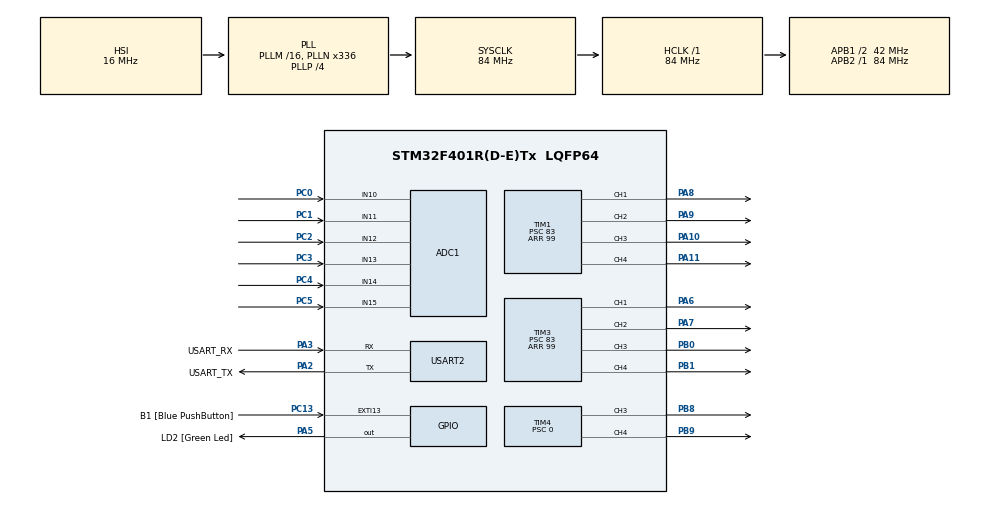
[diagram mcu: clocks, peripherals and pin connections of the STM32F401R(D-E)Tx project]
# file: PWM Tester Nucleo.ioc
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ADC1.Channel-0\#ChannelRegularConversion=ADC_CHANNEL_10
ADC1.Channel-1\#ChannelRegularConversion=ADC_CHANNEL_11
ADC1.Channel-2\#ChannelRegularConversion=ADC_CHANNEL_12
ADC1.Channel-3\#ChannelRegularConversion=ADC_CHANNEL_13
ADC1.Channel-4\#ChannelRegularConversion=ADC_CHANNEL_14
ADC1.Channel-5\#ChannelRegularConversion=ADC_CHANNEL_15
ADC1.ContinuousConvMode=ENABLE
ADC1.NbrOfConversion=6
ADC1.NbrOfConversionFlag=1
ADC1.Rank-0\#ChannelRegularConversion=1
ADC1.Rank-1\#ChannelRegularConversion=2
ADC1.Rank-2\#ChannelRegularConversion=3
ADC1.Rank-3\#ChannelRegularConversion=4
ADC1.Rank-4\#ChannelRegularConversion=5
ADC1.Rank-5\#ChannelRegularConversion=6
ADC1.SamplingTime-0\#ChannelRegularConversion=ADC_SAMPLETIME_480CYCLES
ADC1.SamplingTime-1\#ChannelRegularConversion=ADC_SAMPLETIME_480CYCLES
ADC1.SamplingTime-2\#ChannelRegularConversion=ADC_SAMPLETIME_480CYCLES
ADC1.SamplingTime-3\#ChannelRegularConversion=ADC_SAMPLETIME_480CYCLES
ADC1.SamplingTime-4\#ChannelRegularConversion=ADC_SAMPLETIME_480CYCLES
ADC1.SamplingTime-5\#ChannelRegularConversion=ADC_SAMPLETIME_480CYCLES
ADC1.ScanConvMode=ENABLE
ADC1.master=1
Mcu.Family=STM32F4
Mcu.Name=STM32F401R(D-E)Tx
Mcu.Package=LQFP64
NVIC.PriorityGroup=NVIC_PRIORITYGROUP_0
PA10.Signal=S_TIM1_CH3
PA11.Signal=S_TIM1_CH4
PA13.GPIO_Label=TMS
PA13.Mode=Serial_Wire
PA13.Signal=SYS_JTMS-SWDIO
PA14.GPIO_Label=TCK
PA14.Mode=Serial_Wire
PA14.Signal=SYS_JTCK-SWCLK
PA2.GPIO_Label=USART_TX
PA2.GPIO_Mode=GPIO_MODE_AF_PP
PA2.GPIO_PuPd=GPIO_NOPULL
PA2.GPIO_Speed=GPIO_SPEED_FREQ_LOW
PA2.Mode=Asynchronous
PA2.Signal=USART2_TX
PA3.GPIO_Label=USART_RX
PA3.GPIO_Mode=GPIO_MODE_AF_PP
PA3.GPIO_PuPd=GPIO_NOPULL
PA3.GPIO_Speed=GPIO_SPEED_FREQ_LOW
PA3.Mode=Asynchronous
PA3.Signal=USART2_RX
PA5.GPIO_Label=LD2 [Green Led]
PA5.GPIO_Mode=GPIO_MODE_OUTPUT_PP
PA5.GPIO_PuPd=GPIO_NOPULL
PA5.GPIO_Speed=GPIO_SPEED_FREQ_LOW
PA5.Signal=GPIO_Output
PA6.Signal=S_TIM3_CH1
PA7.Signal=S_TIM3_CH2
PA8.Signal=S_TIM1_CH1
PA9.Signal=S_TIM1_CH2
PB0.Signal=S_TIM3_CH3
PB1.Signal=S_TIM3_CH4
PB3.GPIO_Label=SWO
PB3.Signal=SYS_JTDO-SWO
PB8.Signal=S_TIM4_CH3
PB9.Signal=S_TIM4_CH4
PC0.Signal=ADCx_IN10
PC1.Signal=ADCx_IN11
PC13-ANTI_TAMP.GPIO_Label=B1 [Blue PushButton]
PC13-ANTI_TAMP.GPIO_ModeDefaultEXTI=GPIO_MODE_IT_FALLING
PC13-ANTI_TAMP.GPIO_PuPd=GPIO_NOPULL
PC13-ANTI_TAMP.Signal=GPXTI13
PC2.Signal=ADCx_IN12
PC3.Signal=ADCx_IN13
PC4.Signal=ADCx_IN14
PC5.Signal=ADCx_IN15
PH0\ -\ OSC_IN.Mode=HSE-External-Oscillator
PH0\ -\ OSC_IN.Signal=RCC_OSC_IN
PH1\ -\ OSC_OUT.Mode=HSE-External-Oscillator
PH1\ -\ OSC_OUT.Signal=RCC_OSC_OUT
ProjectManager.HeapSize=0x200
ProjectManager.StackSize=0x400
ProjectManager.TargetToolchain=MDK-ARM V5
RCC.48MHZClocksFreq_Value=48000000
RCC.AHBFreq_Value=84000000
RCC.APB1CLKDivider=RCC_HCLK_DIV2
RCC.APB1Freq_Value=42000000
RCC.APB1TimFreq_Value=84000000
RCC.APB2Freq_Value=84000000
RCC.APB2TimFreq_Value=84000000
RCC.CortexFreq_Value=84000000
RCC.HCLKFreq_Value=84000000
RCC.HSE_VALUE=8000000
RCC.HSI_VALUE=16000000
RCC.PLLN=336
RCC.PLLP=RCC_PLLP_DIV4
RCC.PLLQ=7
RCC.SYSCLKFreq_VALUE=84000000
RCC.SYSCLKSource=RCC_SYSCLKSOURCE_PLLCLK
RCC.VCOOutputFreq_Value=336000000
SH.ADCx_IN10.0=ADC1_IN10,IN10
SH.ADCx_IN11.0=ADC1_IN11,IN11
SH.ADCx_IN12.0=ADC1_IN12,IN12
SH.ADCx_IN13.0=ADC1_IN13,IN13
SH.ADCx_IN14.0=ADC1_IN14,IN14
SH.ADCx_IN15.0=ADC1_IN15,IN15
SH.S_TIM1_CH1.0=TIM1_CH1,PWM Generation1 CH1
SH.S_TIM1_CH2.0=TIM1_CH2,PWM Generation2 CH2
SH.S_TIM1_CH3.0=TIM1_CH3,PWM Generation3 CH3
SH.S_TIM1_CH4.0=TIM1_CH4,PWM Generation4 CH4
SH.S_TIM3_CH1.0=TIM3_CH1,PWM Generation1 CH1
SH.S_TIM3_CH2.0=TIM3_CH2,PWM Generation2 CH2
SH.S_TIM3_CH3.0=TIM3_CH3,PWM Generation3 CH3
SH.S_TIM3_CH4.0=TIM3_CH4,PWM Generation4 CH4
SH.S_TIM4_CH3.0=TIM4_CH3,PWM Generation3 CH3
SH.S_TIM4_CH4.0=TIM4_CH4,PWM Generation4 CH4
TIM1.Channel-PWM\ Generation1\ CH1=TIM_CHANNEL_1
TIM1.Channel-PWM\ Generation2\ CH2=TIM_CHANNEL_2
TIM1.Channel-PWM\ Generation3\ CH3=TIM_CHANNEL_3
TIM1.Channel-PWM\ Generation4\ CH4=TIM_CHANNEL_4
TIM1.Period=99
TIM1.Prescaler=83
TIM3.Channel-PWM\ Generation1\ CH1=TIM_CHANNEL_1
TIM3.Channel-PWM\ Generation2\ CH2=TIM_CHANNEL_2
TIM3.Channel-PWM\ Generation3\ CH3=TIM_CHANNEL_3
TIM3.Channel-PWM\ Generation4\ CH4=TIM_CHANNEL_4
TIM3.Period=99
TIM3.Prescaler=83
TIM4.Channel-PWM\ Generation3\ CH3=TIM_CHANNEL_3
TIM4.Channel-PWM\ Generation4\ CH4=TIM_CHANNEL_4
TIM4.Period=0
TIM4.Prescaler=0
TIM5.Period=99
TIM5.Prescaler=83
USART2.VirtualMode=VM_ASYNC
VP_TIM1_VS_ClockSourceINT.Mode=Internal
VP_TIM3_VS_ClockSourceINT.Mode=Internal
VP_TIM4_VS_ClockSourceINT.Mode=Internal
VP_TIM5_VS_ClockSourceINT.Mode=Internal
board=NUCLEO-F401RE

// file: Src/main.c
/* USER CODE BEGIN Header */
/**
  ******************************************************************************
  * @file           : main.c
  * @brief          : Main program body
  ******************************************************************************
  * @attention
  *
  * <h2><center>&copy; Copyright (c) 2019 STMicroelectronics.
  * All rights reserved.</center></h2>
  *
  * This software component is licensed by ST under BSD 3-Clause license,
  * the "License"; You may not use this file except in compliance with the
  * License. You may obtain a copy of the License at:
  *                        opensource.org/licenses/BSD-3-Clause
  *
  ******************************************************************************
  */
/* USER CODE END Header */

#include "main.h"

ADC_HandleTypeDef hadc1;

TIM_HandleTypeDef htim1;
TIM_HandleTypeDef htim3;
TIM_HandleTypeDef htim4;
TIM_HandleTypeDef htim5;

UART_HandleTypeDef huart2;

void SystemClock_Config(void);
static void MX_GPIO_Init(void);
static void MX_TIM3_Init(void);
static void MX_USART2_UART_Init(void);
static void MX_TIM4_Init(void);
static void MX_TIM5_Init(void);
static void MX_TIM1_Init(void);
static void MX_ADC1_Init(void);

/* USER CODE BEGIN 0 */
uint32_t ADCVal[6];																		//PC0, PC1, PC2, PC3, PC4, PC5
/* USER CODE END 0 */

int main(void)
{

  /* MCU Configuration--------------------------------------------------------*/

  /* Reset of all peripherals, Initializes the Flash interface and the Systick. */
  HAL_Init();

  /* Configure the system clock */
  SystemClock_Config();

  /* Initialize all configured peripherals */
  MX_GPIO_Init();
  MX_TIM3_Init();
  MX_USART2_UART_Init();
  MX_TIM4_Init();
  MX_TIM5_Init();
  MX_TIM1_Init();
  MX_ADC1_Init();
  /* USER CODE BEGIN 2 */
	HAL_TIM_PWM_Start(&htim1, TIM_CHANNEL_1);						//PWM PA8
	htim1.Instance->CCR1 = 50;
	HAL_TIM_PWM_Start(&htim1, TIM_CHANNEL_2);						//PWM PA9
	htim1.Instance->CCR2 = 50;
	HAL_TIM_PWM_Start(&htim1, TIM_CHANNEL_3);						//PWM PA10
	htim1.Instance->CCR3 = 50;
	HAL_TIM_PWM_Start(&htim1, TIM_CHANNEL_4);						//PWM PA11
	htim1.Instance->CCR4 = 50;

	HAL_TIM_PWM_Start(&htim3, TIM_CHANNEL_1);						//PWM PA6
	htim3.Instance->CCR1 = 50;
	HAL_TIM_PWM_Start(&htim3, TIM_CHANNEL_2);						//PWM PA7
	htim3.Instance->CCR2 = 50;
	HAL_TIM_PWM_Start(&htim3, TIM_CHANNEL_3);						//PWM PB0
	htim3.Instance->CCR3 = 50;
	HAL_TIM_PWM_Start(&htim3, TIM_CHANNEL_4);						//PWM PB1
	htim3.Instance->CCR4 = 50;

	HAL_TIM_PWM_Start(&htim4, TIM_CHANNEL_3);						//PWM PB8
	htim4.Instance->CCR3 = 50;
	HAL_TIM_PWM_Start(&htim4, TIM_CHANNEL_4);						//PWM PB9
	htim4.Instance->CCR4 = 50;
  /* USER CODE END 2 */

  /* Infinite loop */
  while (1)
  {

    /* USER CODE BEGIN 3 */
		HAL_ADC_Start(&hadc1);
		for(int i=0; i<6; i++)
		{
			HAL_ADC_PollForConversion(&hadc1, 100);
			ADCVal[i] = HAL_ADC_GetValue(&hadc1);
		}
		HAL_ADC_Stop(&hadc1);

		HAL_Delay(100);
  }
  /* USER CODE END 3 */
}

void SystemClock_Config(void)
{
  RCC_OscInitTypeDef RCC_OscInitStruct = {0};
  RCC_ClkInitTypeDef RCC_ClkInitStruct = {0};

  /** Configure the main internal regulator output voltage
  */
  __HAL_RCC_PWR_CLK_ENABLE();
  __HAL_PWR_VOLTAGESCALING_CONFIG(PWR_REGULATOR_VOLTAGE_SCALE2);
  /** Initializes the CPU, AHB and APB busses clocks
  */
  RCC_OscInitStruct.OscillatorType = RCC_OSCILLATORTYPE_HSI;
  RCC_OscInitStruct.HSIState = RCC_HSI_ON;
  RCC_OscInitStruct.HSICalibrationValue = RCC_HSICALIBRATION_DEFAULT;
  RCC_OscInitStruct.PLL.PLLState = RCC_PLL_ON;
  RCC_OscInitStruct.PLL.PLLSource = RCC_PLLSOURCE_HSI;
  RCC_OscInitStruct.PLL.PLLM = 16;
  RCC_OscInitStruct.PLL.PLLN = 336;
  RCC_OscInitStruct.PLL.PLLP = RCC_PLLP_DIV4;
  RCC_OscInitStruct.PLL.PLLQ = 7;
  if (HAL_RCC_OscConfig(&RCC_OscInitStruct) != HAL_OK)
  {
    Error_Handler();
  }
  /** Initializes the CPU, AHB and APB busses clocks
  */
  RCC_ClkInitStruct.ClockType = RCC_CLOCKTYPE_HCLK|RCC_CLOCKTYPE_SYSCLK
                              |RCC_CLOCKTYPE_PCLK1|RCC_CLOCKTYPE_PCLK2;
  RCC_ClkInitStruct.SYSCLKSource = RCC_SYSCLKSOURCE_PLLCLK;
  RCC_ClkInitStruct.AHBCLKDivider = RCC_SYSCLK_DIV1;
  RCC_ClkInitStruct.APB1CLKDivider = RCC_HCLK_DIV2;
  RCC_ClkInitStruct.APB2CLKDivider = RCC_HCLK_DIV1;

  if (HAL_RCC_ClockConfig(&RCC_ClkInitStruct, FLASH_LATENCY_2) != HAL_OK)
  {
    Error_Handler();
  }
}

static void MX_ADC1_Init(void)
{

  ADC_ChannelConfTypeDef sConfig = {0};

  /** Configure the global features of the ADC (Clock, Resolution, Data Alignment and number of conversion)
  */
  hadc1.Instance = ADC1;
  hadc1.Init.ClockPrescaler = ADC_CLOCK_SYNC_PCLK_DIV4;
  hadc1.Init.Resolution = ADC_RESOLUTION_12B;
  hadc1.Init.ScanConvMode = ENABLE;
  hadc1.Init.ContinuousConvMode = ENABLE;
  hadc1.Init.DiscontinuousConvMode = DISABLE;
  hadc1.Init.ExternalTrigConvEdge = ADC_EXTERNALTRIGCONVEDGE_NONE;
  hadc1.Init.ExternalTrigConv = ADC_SOFTWARE_START;
  hadc1.Init.DataAlign = ADC_DATAALIGN_RIGHT;
  hadc1.Init.NbrOfConversion = 6;
  hadc1.Init.DMAContinuousRequests = DISABLE;
  hadc1.Init.EOCSelection = ADC_EOC_SINGLE_CONV;
  if (HAL_ADC_Init(&hadc1) != HAL_OK)
  {
    Error_Handler();
  }
  /** Configure for the selected ADC regular channel its corresponding rank in the sequencer and its sample time.
  */
  sConfig.Channel = ADC_CHANNEL_10;
  sConfig.Rank = 1;
  sConfig.SamplingTime = ADC_SAMPLETIME_480CYCLES;
  if (HAL_ADC_ConfigChannel(&hadc1, &sConfig) != HAL_OK)
  {
    Error_Handler();
  }
  /** Configure for the selected ADC regular channel its corresponding rank in the sequencer and its sample time.
  */
  sConfig.Channel = ADC_CHANNEL_11;
  sConfig.Rank = 2;
  if (HAL_ADC_ConfigChannel(&hadc1, &sConfig) != HAL_OK)
  {
    Error_Handler();
  }
  /** Configure for the selected ADC regular channel its corresponding rank in the sequencer and its sample time.
  */
  sConfig.Channel = ADC_CHANNEL_12;
  sConfig.Rank = 3;
  if (HAL_ADC_ConfigChannel(&hadc1, &sConfig) != HAL_OK)
  {
    Error_Handler();
  }
  /** Configure for the selected ADC regular channel its corresponding rank in the sequencer and its sample time.
  */
  sConfig.Channel = ADC_CHANNEL_13;
  sConfig.Rank = 4;
  if (HAL_ADC_ConfigChannel(&hadc1, &sConfig) != HAL_OK)
  {
    Error_Handler();
  }
  /** Configure for the selected ADC regular channel its corresponding rank in the sequencer and its sample time.
  */
  sConfig.Channel = ADC_CHANNEL_14;
  sConfig.Rank = 5;
  if (HAL_ADC_ConfigChannel(&hadc1, &sConfig) != HAL_OK)
  {
    Error_Handler();
  }
  /** Configure for the selected ADC regular channel its corresponding rank in the sequencer and its sample time.
  */
  sConfig.Channel = ADC_CHANNEL_15;
  sConfig.Rank = 6;
  if (HAL_ADC_ConfigChannel(&hadc1, &sConfig) != HAL_OK)
  {
    Error_Handler();
  }

}

static void MX_TIM1_Init(void)
{

  TIM_ClockConfigTypeDef sClockSourceConfig = {0};
  TIM_MasterConfigTypeDef sMasterConfig = {0};
  TIM_OC_InitTypeDef sConfigOC = {0};
  TIM_BreakDeadTimeConfigTypeDef sBreakDeadTimeConfig = {0};

  htim1.Instance = TIM1;
  htim1.Init.Prescaler = 83;
  htim1.Init.CounterMode = TIM_COUNTERMODE_UP;
  htim1.Init.Period = 99;
  htim1.Init.ClockDivision = TIM_CLOCKDIVISION_DIV1;
  htim1.Init.RepetitionCounter = 0;
  htim1.Init.AutoReloadPreload = TIM_AUTORELOAD_PRELOAD_DISABLE;
  if (HAL_TIM_Base_Init(&htim1) != HAL_OK)
  {
    Error_Handler();
  }
  sClockSourceConfig.ClockSource = TIM_CLOCKSOURCE_INTERNAL;
  if (HAL_TIM_ConfigClockSource(&htim1, &sClockSourceConfig) != HAL_OK)
  {
    Error_Handler();
  }
  if (HAL_TIM_PWM_Init(&htim1) != HAL_OK)
  {
    Error_Handler();
  }
  sMasterConfig.MasterOutputTrigger = TIM_TRGO_RESET;
  sMasterConfig.MasterSlaveMode = TIM_MASTERSLAVEMODE_DISABLE;
  if (HAL_TIMEx_MasterConfigSynchronization(&htim1, &sMasterConfig) != HAL_OK)
  {
    Error_Handler();
  }
  sConfigOC.OCMode = TIM_OCMODE_PWM1;
  sConfigOC.Pulse = 0;
  sConfigOC.OCPolarity = TIM_OCPOLARITY_HIGH;
  sConfigOC.OCNPolarity = TIM_OCNPOLARITY_HIGH;
  sConfigOC.OCFastMode = TIM_OCFAST_DISABLE;
  sConfigOC.OCIdleState = TIM_OCIDLESTATE_RESET;
  sConfigOC.OCNIdleState = TIM_OCNIDLESTATE_RESET;
  if (HAL_TIM_PWM_ConfigChannel(&htim1, &sConfigOC, TIM_CHANNEL_1) != HAL_OK)
  {
    Error_Handler();
  }
  if (HAL_TIM_PWM_ConfigChannel(&htim1, &sConfigOC, TIM_CHANNEL_2) != HAL_OK)
  {
    Error_Handler();
  }
  if (HAL_TIM_PWM_ConfigChannel(&htim1, &sConfigOC, TIM_CHANNEL_3) != HAL_OK)
  {
    Error_Handler();
  }
  if (HAL_TIM_PWM_ConfigChannel(&htim1, &sConfigOC, TIM_CHANNEL_4) != HAL_OK)
  {
    Error_Handler();
  }
  sBreakDeadTimeConfig.OffStateRunMode = TIM_OSSR_DISABLE;
  sBreakDeadTimeConfig.OffStateIDLEMode = TIM_OSSI_DISABLE;
  sBreakDeadTimeConfig.LockLevel = TIM_LOCKLEVEL_OFF;
  sBreakDeadTimeConfig.DeadTime = 0;
  sBreakDeadTimeConfig.BreakState = TIM_BREAK_DISABLE;
  sBreakDeadTimeConfig.BreakPolarity = TIM_BREAKPOLARITY_HIGH;
  sBreakDeadTimeConfig.AutomaticOutput = TIM_AUTOMATICOUTPUT_DISABLE;
  if (HAL_TIMEx_ConfigBreakDeadTime(&htim1, &sBreakDeadTimeConfig) != HAL_OK)
  {
    Error_Handler();
  }
  HAL_TIM_MspPostInit(&htim1);

}

static void MX_TIM3_Init(void)
{

  TIM_ClockConfigTypeDef sClockSourceConfig = {0};
  TIM_MasterConfigTypeDef sMasterConfig = {0};
  TIM_OC_InitTypeDef sConfigOC = {0};

  htim3.Instance = TIM3;
  htim3.Init.Prescaler = 83;
  htim3.Init.CounterMode = TIM_COUNTERMODE_UP;
  htim3.Init.Period = 99;
  htim3.Init.ClockDivision = TIM_CLOCKDIVISION_DIV1;
  htim3.Init.AutoReloadPreload = TIM_AUTORELOAD_PRELOAD_DISABLE;
  if (HAL_TIM_Base_Init(&htim3) != HAL_OK)
  {
    Error_Handler();
  }
  sClockSourceConfig.ClockSource = TIM_CLOCKSOURCE_INTERNAL;
  if (HAL_TIM_ConfigClockSource(&htim3, &sClockSourceConfig) != HAL_OK)
  {
    Error_Handler();
  }
  if (HAL_TIM_PWM_Init(&htim3) != HAL_OK)
  {
    Error_Handler();
  }
  sMasterConfig.MasterOutputTrigger = TIM_TRGO_RESET;
  sMasterConfig.MasterSlaveMode = TIM_MASTERSLAVEMODE_DISABLE;
  if (HAL_TIMEx_MasterConfigSynchronization(&htim3, &sMasterConfig) != HAL_OK)
  {
    Error_Handler();
  }
  sConfigOC.OCMode = TIM_OCMODE_PWM1;
  sConfigOC.Pulse = 0;
  sConfigOC.OCPolarity = TIM_OCPOLARITY_HIGH;
  sConfigOC.OCFastMode = TIM_OCFAST_DISABLE;
  if (HAL_TIM_PWM_ConfigChannel(&htim3, &sConfigOC, TIM_CHANNEL_1) != HAL_OK)
  {
    Error_Handler();
  }
  if (HAL_TIM_PWM_ConfigChannel(&htim3, &sConfigOC, TIM_CHANNEL_2) != HAL_OK)
  {
    Error_Handler();
  }
  if (HAL_TIM_PWM_ConfigChannel(&htim3, &sConfigOC, TIM_CHANNEL_3) != HAL_OK)
  {
    Error_Handler();
  }
  if (HAL_TIM_PWM_ConfigChannel(&htim3, &sConfigOC, TIM_CHANNEL_4) != HAL_OK)
  {
    Error_Handler();
  }
  HAL_TIM_MspPostInit(&htim3);

}

static void MX_TIM4_Init(void)
{

  TIM_ClockConfigTypeDef sClockSourceConfig = {0};
  TIM_MasterConfigTypeDef sMasterConfig = {0};
  TIM_OC_InitTypeDef sConfigOC = {0};

  htim4.Instance = TIM4;
  htim4.Init.Prescaler = 0;
  htim4.Init.CounterMode = TIM_COUNTERMODE_UP;
  htim4.Init.Period = 0;
  htim4.Init.ClockDivision = TIM_CLOCKDIVISION_DIV1;
  htim4.Init.AutoReloadPreload = TIM_AUTORELOAD_PRELOAD_DISABLE;
  if (HAL_TIM_Base_Init(&htim4) != HAL_OK)
  {
    Error_Handler();
  }
  sClockSourceConfig.ClockSource = TIM_CLOCKSOURCE_INTERNAL;
  if (HAL_TIM_ConfigClockSource(&htim4, &sClockSourceConfig) != HAL_OK)
  {
    Error_Handler();
  }
  if (HAL_TIM_PWM_Init(&htim4) != HAL_OK)
  {
    Error_Handler();
  }
  sMasterConfig.MasterOutputTrigger = TIM_TRGO_RESET;
  sMasterConfig.MasterSlaveMode = TIM_MASTERSLAVEMODE_DISABLE;
  if (HAL_TIMEx_MasterConfigSynchronization(&htim4, &sMasterConfig) != HAL_OK)
  {
    Error_Handler();
  }
  sConfigOC.OCMode = TIM_OCMODE_PWM1;
  sConfigOC.Pulse = 0;
  sConfigOC.OCPolarity = TIM_OCPOLARITY_HIGH;
  sConfigOC.OCFastMode = TIM_OCFAST_DISABLE;
  if (HAL_TIM_PWM_ConfigChannel(&htim4, &sConfigOC, TIM_CHANNEL_3) != HAL_OK)
  {
    Error_Handler();
  }
  if (HAL_TIM_PWM_ConfigChannel(&htim4, &sConfigOC, TIM_CHANNEL_4) != HAL_OK)
  {
    Error_Handler();
  }
  HAL_TIM_MspPostInit(&htim4);

}

static void MX_TIM5_Init(void)
{

  TIM_ClockConfigTypeDef sClockSourceConfig = {0};
  TIM_MasterConfigTypeDef sMasterConfig = {0};

  htim5.Instance = TIM5;
  htim5.Init.Prescaler = 83;
  htim5.Init.CounterMode = TIM_COUNTERMODE_UP;
  htim5.Init.Period = 99;
  htim5.Init.ClockDivision = TIM_CLOCKDIVISION_DIV1;
  htim5.Init.AutoReloadPreload = TIM_AUTORELOAD_PRELOAD_DISABLE;
  if (HAL_TIM_Base_Init(&htim5) != HAL_OK)
  {
    Error_Handler();
  }
  sClockSourceConfig.ClockSource = TIM_CLOCKSOURCE_INTERNAL;
  if (HAL_TIM_ConfigClockSource(&htim5, &sClockSourceConfig) != HAL_OK)
  {
    Error_Handler();
  }
  sMasterConfig.MasterOutputTrigger = TIM_TRGO_RESET;
  sMasterConfig.MasterSlaveMode = TIM_MASTERSLAVEMODE_DISABLE;
  if (HAL_TIMEx_MasterConfigSynchronization(&htim5, &sMasterConfig) != HAL_OK)
  {
    Error_Handler();
  }

}

static void MX_USART2_UART_Init(void)
{

  huart2.Instance = USART2;
  huart2.Init.BaudRate = 115200;
  huart2.Init.WordLength = UART_WORDLENGTH_8B;
  huart2.Init.StopBits = UART_STOPBITS_1;
  huart2.Init.Parity = UART_PARITY_NONE;
  huart2.Init.Mode = UART_MODE_TX_RX;
  huart2.Init.HwFlowCtl = UART_HWCONTROL_NONE;
  huart2.Init.OverSampling = UART_OVERSAMPLING_16;
  if (HAL_UART_Init(&huart2) != HAL_OK)
  {
    Error_Handler();
  }

}

static void MX_GPIO_Init(void)
{
  GPIO_InitTypeDef GPIO_InitStruct = {0};

  /* GPIO Ports Clock Enable */
  __HAL_RCC_GPIOC_CLK_ENABLE();
  __HAL_RCC_GPIOH_CLK_ENABLE();
  __HAL_RCC_GPIOA_CLK_ENABLE();
  __HAL_RCC_GPIOB_CLK_ENABLE();

  /*Configure GPIO pin Output Level */
  HAL_GPIO_WritePin(LD2_GPIO_Port, LD2_Pin, GPIO_PIN_RESET);

  /*Configure GPIO pin : B1_Pin */
  GPIO_InitStruct.Pin = B1_Pin;
  GPIO_InitStruct.Mode = GPIO_MODE_IT_FALLING;
  GPIO_InitStruct.Pull = GPIO_NOPULL;
  HAL_GPIO_Init(B1_GPIO_Port, &GPIO_InitStruct);

  /*Configure GPIO pin : LD2_Pin */
  GPIO_InitStruct.Pin = LD2_Pin;
  GPIO_InitStruct.Mode = GPIO_MODE_OUTPUT_PP;
  GPIO_InitStruct.Pull = GPIO_NOPULL;
  GPIO_InitStruct.Speed = GPIO_SPEED_FREQ_LOW;
  HAL_GPIO_Init(LD2_GPIO_Port, &GPIO_InitStruct);

}

void Error_Handler(void)
{
}

/************************ (C) COPYRIGHT STMicroelectronics *****END OF FILE****/
